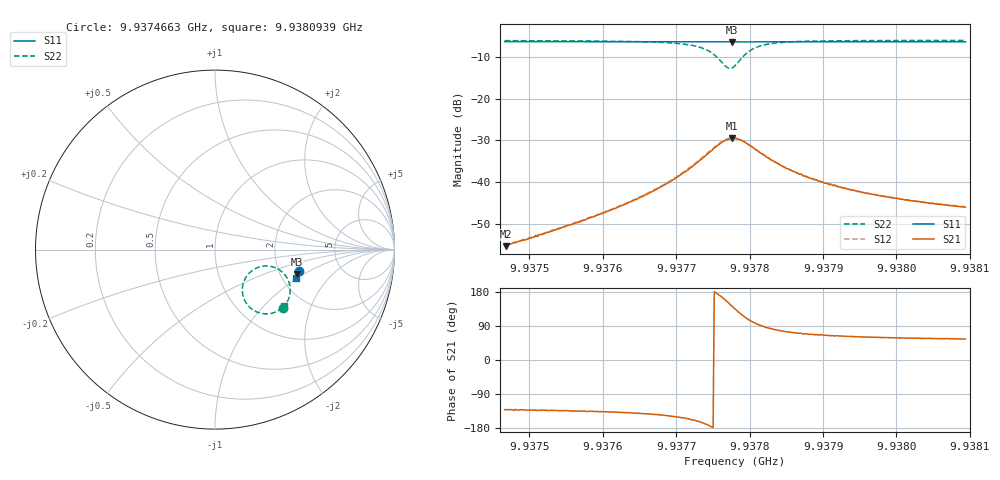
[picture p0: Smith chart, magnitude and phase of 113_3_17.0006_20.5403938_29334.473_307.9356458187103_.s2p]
#  HZ  S  RI  R  50.00
! Rohde & Schwarz Vector Network Analyzer
! Rohde-Schwarz,ZNB20-2Port,1311601062101988,3.16
! Created: UTC 3/20/2024, 10:57:08 PM
! freq[Hz]  re:S11  im:S11  re:S21  im:S21  re:S12  im:S12  re:S22  im:S22
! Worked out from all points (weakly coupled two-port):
!   401 points, 9.9374663 GHz to 9.9380939 GHz, reference 50 ohm
!   highest |S21| = -29.56 dB at 9.9377754 GHz (marker M1); lowest = -55.4 dB at 9.9374679 GHz (marker M2)
!   lowest |S11| = -6.4 dB at 9.9377754 GHz (marker M3), VSWR 2.83, Z = 124 - j43.4 ohm
!   |S11| at or under -10 dB: nowhere
!   |S22| runs from -12.8 to -6.0 dB; largest |S21 - S12| = 0.0018
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9.93746634e9  0.4682 -0.1171  -0.00113 -0.00129  -0.00113 -0.00132  0.3766 -0.3231
9.93746791e9  0.4682 -0.1172  -0.00111 -0.00128  -0.00115 -0.00131  0.3765 -0.3232
9.93757146e9  0.4659 -0.1243  -0.00241 -0.00243  -0.00249 -0.00241  0.3599 -0.3359
9.93761853e9  0.4646 -0.1273  -0.0036 -0.00327  -0.00374 -0.00325  0.3467 -0.3433
9.93764834e9  0.4638 -0.1296  -0.00491 -0.00401  -0.00507 -0.00401  0.334 -0.3489
9.93767658e9  0.4631 -0.1316  -0.00689 -0.00496  -0.00711 -0.00489  0.3154 -0.3546
9.9377158e9  0.4615 -0.1344  -0.0125 -0.00595  -0.0131 -0.00588  0.2656 -0.3566
9.93773934e9  0.4601 -0.1359  -0.02 -0.00403  -0.0207 -0.00377  0.207 -0.3325
9.93775032e9  0.4593 -0.1364  -0.0248 -0.000592  -0.0254 2.63e-05  0.1735 -0.297
9.9377613e9  0.4583 -0.1363  -0.0287 0.00634  -0.0292 0.00767  0.1524 -0.2328
9.93776915e9  0.458 -0.136  -0.0289 0.0138  -0.0291 0.0153  0.1626 -0.1733
9.93777542e9  0.4579 -0.1355  -0.0267 0.0198  -0.0262 0.0213  0.1919 -0.1297
9.93778013e9  0.458 -0.1354  -0.0234 0.0235  -0.0227 0.0248  0.2241 -0.1061
9.93778797e9  0.4586 -0.1353  -0.0166 0.0269  -0.0156 0.0279  0.2837 -0.0912
9.93779739e9  0.4593 -0.1357  -0.00887 0.0271  -0.00791 0.0276  0.3435 -0.1044
9.93780523e9  0.4597 -0.1364  -0.00419 0.0253  -0.00336 0.0255  0.3767 -0.1269
9.93781464e9  0.46 -0.1373  -0.000639 0.0223  0.000148 0.0224  0.3997 -0.1554
9.93784759e9  0.4598 -0.1401  0.00372 0.0145  0.00407 0.0145  0.4194 -0.2242
9.93788525e9  0.4592 -0.143  0.0041 0.0101  0.00433 0.0101  0.4143 -0.2614
9.93793232e9  0.4579 -0.1466  0.00383 0.00729  0.00401 0.00732  0.4056 -0.2847
9.93799037e9  0.4566 -0.1504  0.00339 0.00557  0.00348 0.00558  0.3968 -0.3003
9.93809392e9  0.4537 -0.1573  0.00284 0.00408  0.00292 0.0041  0.3855 -0.3161
